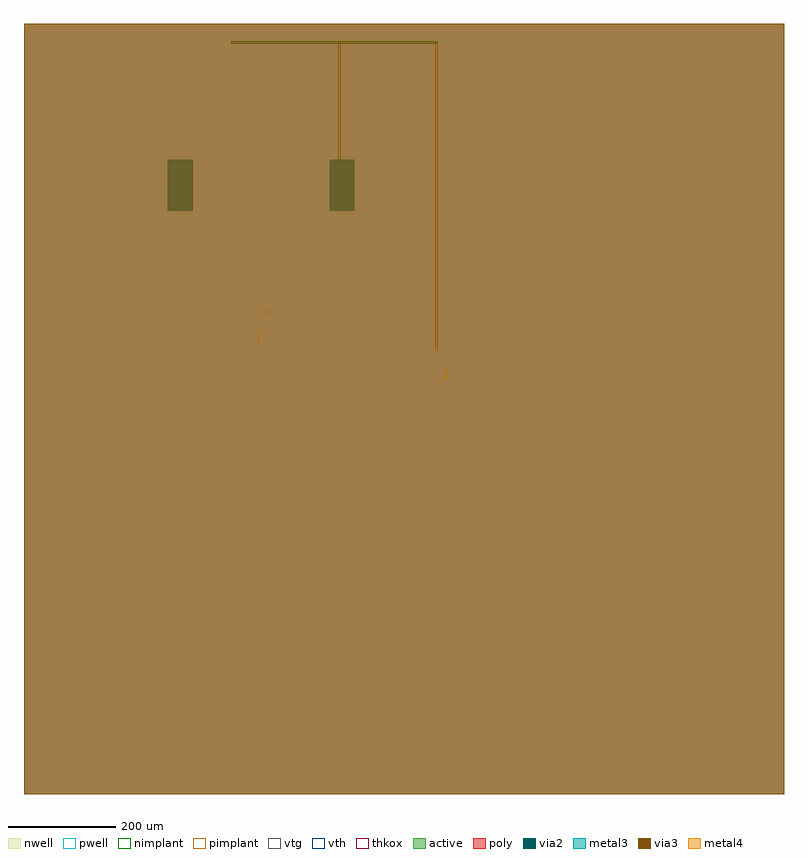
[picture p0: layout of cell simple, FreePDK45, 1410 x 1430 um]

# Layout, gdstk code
from math import pi, radians
import gdstk
lib = gdstk.Library(unit=1e-6, precision=1e-09)
def R(c, l, rs):  # rectangles x0, y0, x1, y1
    for r in rs: c.add(gdstk.rectangle(r[:2], r[2:], *l))
active = (1, 0)
pwell = (2, 0)
nwell = (3, 0)
nimplant = (4, 0)
pimplant = (5, 0)
vtg = (6, 0)
vth = (7, 0)
thkox = (8, 0)
poly = (9, 0)
via2 = (14, 0)
metal3 = (15, 0)
via3 = (16, 0)
metal4 = (17, 0)

via34 = lib.new_cell('VIA34')
R(via34, pimplant, [(-2.2,-2.2,2.2,2.2)])
R(via34, vtg, [(-2.2,-2.2,2.2,2.2)])
R(via34, vth, [(-2.2,-2.2,2.2,2.2)])

via45 = lib.new_cell('VIA45')
R(via45, vth, [(-2.2,-2.2,2.2,2.2)])
R(via45, thkox, [(-2.2,-2.2,2.2,2.2)])
R(via45, poly, [(-2.2,-2.2,2.2,2.2)])

via12 = lib.new_cell('VIA12')
R(via12, active, [(-200.2,-2.2,2.2,2.2)])
R(via12, pwell, [(-2.2,-2.2,2.2,2.2)])
R(via12, nwell, [(-2.2,-2.2,2.2,2.2)])

via23 = lib.new_cell('VIA23')
R(via23, nwell, [(-2.2,-2.2,2.2,2.2)])
R(via23, nimplant, [(-2.2,-2.2,2.2,2.2)])
R(via23, pimplant, [(-2.2,-2.2,2.2,2.2)])

pad = lib.new_cell('PAD')
R(pad, via2, [(27,12.5,73,107.5)])
R(pad, metal3, [(27,12.5,73,107.5)])
R(pad, via3, [(0,0,100,120)])

thmitll_splitt = lib.new_cell('THmitll_SPLITT')
R(thmitll_splitt, via3, [(0,0,30,70)])
R(thmitll_splitt, metal4, [(22.8,12.8,27.2,17.2), (22.8,22.8,27.2,27.2), (2.8,62.8,7.2,67.2)])

simple = lib.new_cell('simple')
R(simple, via3, [(0,0,1410,1430)])
simple.add(gdstk.FlexPath([(765,1395),(765,825)], 4.4, ends="extended", simple_path=True, layer=5, datatype=0))  # pimplant
simple.add(gdstk.FlexPath([(585,1175),(585,1395)], 4.4, ends="extended", simple_path=True, layer=5, datatype=0))  # pimplant
simple.add(gdstk.FlexPath([(585,1395),(765,1395)], 4.4, ends="extended", simple_path=True, layer=1, datatype=0))  # active
simple.add(gdstk.Reference(via34, (585,1175)))
simple.add(gdstk.Reference(via45, (585,1175)))
simple.add(gdstk.Reference(via12, (585,1395)))
simple.add(gdstk.Reference(via23, (585,1395)))
simple.add(gdstk.Reference(pad, (540,1070)))
simple.add(gdstk.Reference(pad, (240,1070)))
simple.add(gdstk.Reference(thmitll_splitt, (460,830), rotation=pi, x_reflection=True))
simple.add(gdstk.Reference(thmitll_splitt, (760,760)))
simple.add(gdstk.Reference(via23, (765,1395)))
simple.add(gdstk.Reference(via12, (765,1395)))
simple.add(gdstk.Reference(via45, (765,825)))
simple.add(gdstk.Reference(via34, (765,825)))

lib.write_gds('simple.gds')
